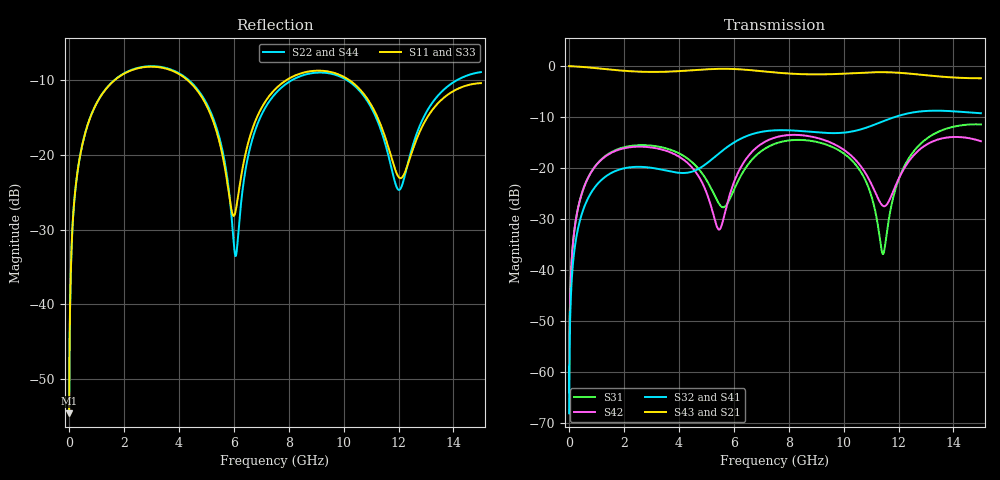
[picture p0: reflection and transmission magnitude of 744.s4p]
! Created with skrf 1.8.0 (http://scikit-rf.org).
# GHz S RI R 50.0
!freq ReS11 ImS11 ReS12 ImS12 ReS13 ImS13
! ReS14 ImS14
! ReS21 ImS21 ReS22 ImS22 ReS23 ImS23
! ReS24 ImS24
! ReS31 ImS31 ReS32 ImS32 ReS33 ImS33
! ReS34 ImS34
! ReS41 ImS41 ReS42 ImS42 ReS43 ImS43
! ReS44 ImS44
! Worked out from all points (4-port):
!   2499 points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, 5 MHz to 15 GHz, reference 50 ohm
!   strongest paths, dB at 5 MHz, 3.476 GHz, 7.19 GHz, 11.1 GHz, 15 GHz:
!     S43: 0.0, -1.1, -1.1, -1.2, -2.4
!     S21: 0.0, -1.1, -1.1, -1.2, -2.4
!     S32: -68.2, -20.4, -12.8, -11.6, -9.3
!     S41: -68.2, -20.5, -12.8, -11.6, -9.4
!     S42: -64.1, -16.5, -14.7, -24.1, -14.7
!     S31: -64.1, -16.1, -16.0, -27.2, -11.4
!   lowest |S11| = -54.6 dB at 5 MHz (marker M1), VSWR 1.00, Z = 50.1 + j0.113 ohm
!   |S11| at or under -10 dB: start of sweep to 1.665 GHz; 4.317 GHz to 7.919 GHz (3.602 GHz wide, 58.9 % of centre); 10.21 GHz to end of sweep
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0.005  0.00149 0.00113  0.9985 -0.0029  7.54e-05 0.000621  -7.31e-05 -0.000384
       0.9985 -0.0029  0.00149 0.00113  -7.31e-05 -0.000384  7.53e-05 0.000621
       7.54e-05 0.000621  -7.31e-05 -0.000384  0.00149 0.00113  0.9985 -0.0029
       -7.31e-05 -0.000384  7.53e-05 0.000621  0.9985 -0.0029  0.00149 0.00113
0.3126303  0.0204 0.0747  0.9721 -0.181  0.00992 0.0371  -0.00799 -0.0229
           0.9721 -0.181  0.0205 0.0747  -0.008 -0.0229  0.00937 0.0373
           0.00992 0.0371  -0.008 -0.0229  0.0204 0.0747  0.9721 -0.181
           -0.00799 -0.0229  0.00937 0.0373  0.9721 -0.181  0.0205 0.0747
1.569404  0.242 0.1858  0.6038 -0.6951  0.1276 0.0675  -0.0888 -0.0153
          0.6038 -0.6951  0.2444 0.1845  -0.0889 -0.0152  0.1197 0.0768
          0.1276 0.0675  -0.0889 -0.0152  0.2419 0.1858  0.6038 -0.6951
          -0.0888 -0.0153  0.1197 0.0768  0.6038 -0.6951  0.2445 0.1845
5.858691  0.0401 -0.0298  -0.9264 -0.1535  -0.0379 0.0322  -0.0258 0.1655
          -0.9264 -0.1535  0.0232 -0.0451  -0.0232 0.1659  0.0286 0.0474
          -0.0379 0.0322  -0.0232 0.1659  0.0402 -0.0289  -0.9265 -0.1531
          -0.0258 0.1655  0.0286 0.0474  -0.9265 -0.1531  0.0229 -0.044
9.447687  0.356 -0.0586  0.0322 0.8321  0.1468 -0.079  0.2061 -0.0729
          0.0322 0.8321  0.3488 -0.0451  0.2058 -0.0788  0.1499 -0.1023
          0.1468 -0.079  0.2058 -0.0788  0.3576 -0.0581  0.0319 0.8311
          0.2061 -0.0729  0.1499 -0.1023  0.0319 0.8311  0.3526 -0.046
11.43602  0.0986 -0.1054  0.7588 0.4289  -0.0143 -0.000255  0.1387 -0.2513
          0.7588 0.4289  0.09 -0.0981  0.1311 -0.2554  -0.0408 -0.0118
          -0.0143 -0.000255  0.1311 -0.2554  0.0983 -0.1086  0.7579 0.4297
          0.1387 -0.2513  -0.0408 -0.0118  0.7579 0.4297  0.0933 -0.0995
15  0.3016 0.00966  0.2324 -0.7251  0.2234 -0.1484  -0.3375 -0.0287
    0.2324 -0.7251  0.3573 0.0145  -0.3442 -0.0156  0.1825 -0.0159
    0.2234 -0.1484  -0.3442 -0.0156  0.3004 0.0243  0.2321 -0.7229
    -0.3375 -0.0287  0.1825 -0.0159  0.2321 -0.7229  0.3688 0.00457
